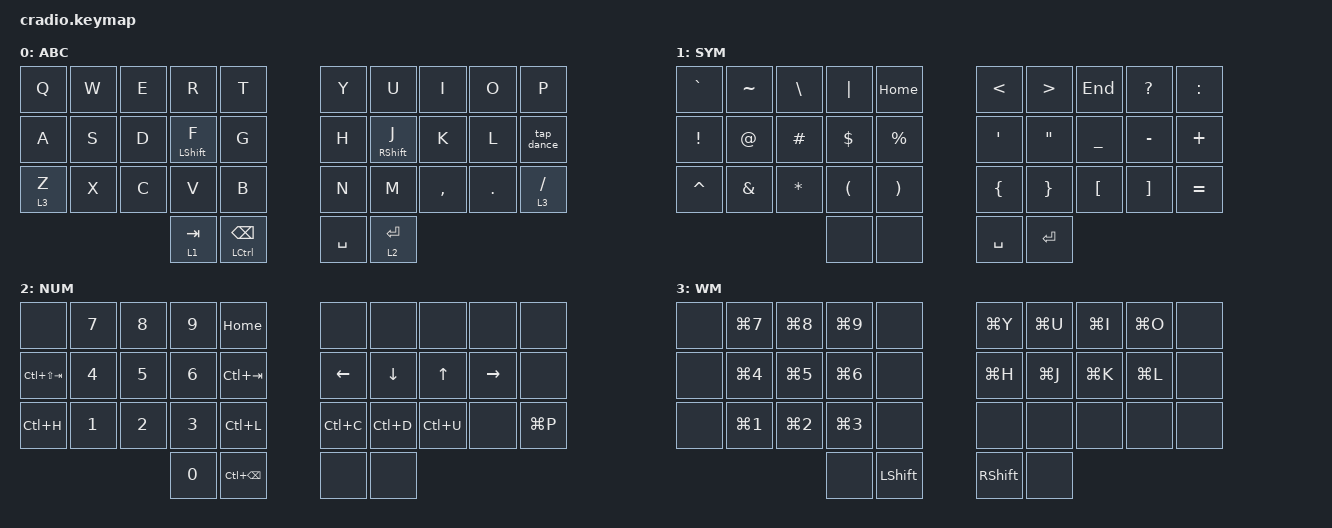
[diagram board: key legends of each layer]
// Copyright (c) 2022 The ZMK Contributors
// SPDX-License-Identifier: MIT

#include <behaviors.dtsi>
#include <dt-bindings/zmk/keys.h>

&mt { tapping-term-ms = <150>; };

&lt { tapping-term-ms = <150>; };

/ {
    behaviors {
        tap_dance: tap_dance {
            compatible = "zmk,behavior-tap-dance";
            label = "TAP_DANCE";
            #binding-cells = <0>;
            tapping-term-ms = <150>;
            bindings = <&kp SEMICOLON>, <&caps_word>;
        };

        modtapbalance: modtapbalance {
            compatible = "zmk,behavior-hold-tap";
            label = "MODTAPBALANCE";
            bindings = <&kp>, <&kp>;

            #binding-cells = <2>;
            tapping-term-ms = <160>;
            flavor = "balanced";
        };

        layertapbalance: layertapbalance {
            compatible = "zmk,behavior-hold-tap";
            label = "LAYERTAPBALANCE";
            bindings = <&mo>, <&kp>;

            #binding-cells = <2>;
            tapping-term-ms = <160>;
            flavor = "balanced";
        };
    };

    conditional_layers { compatible = "zmk,conditional-layers"; };

    combos {
        compatible = "zmk,combos";

        combo_esc {
            bindings = <&kp ESCAPE>;
            key-positions = <12 13>;
        };
    };

    keymap {
        compatible = "zmk,keymap";

        default_layer {
            bindings = <
&kp Q                 &kp W  &kp E  &kp R                        &kp T                  &kp Y      &kp U                         &kp I      &kp O    &kp P
&kp A                 &kp S  &kp D  &modtapbalance LEFT_SHIFT F  &kp G                  &kp H      &modtapbalance RIGHT_SHIFT J  &kp K      &kp L    &tap_dance
&layertapbalance 3 Z  &kp X  &kp C  &kp V                        &kp B                  &kp N      &kp M                         &kp COMMA  &kp DOT  &layertapbalance 3 SLASH
                                    &lt 1 TAB                    &mt LCTRL BACKSPACE    &kp SPACE  &lt 2 ENTER
            >;

            label = "ABC";
        };

        symbol_layer {
            bindings = <
&kp GRAVE        &kp TILDE      &kp BACKSLASH  &kp PIPE              &kp HOME                 &kp LESS_THAN     &kp GREATER_THAN   &kp END           &kp QUESTION       &kp COLON
&kp EXCLAMATION  &kp AT_SIGN    &kp HASH       &kp DOLLAR            &kp PERCENT              &kp SINGLE_QUOTE  &kp DOUBLE_QUOTES  &kp UNDERSCORE    &kp MINUS          &kp PLUS
&kp CARET        &kp AMPERSAND  &kp ASTERISK   &kp LEFT_PARENTHESIS  &kp RIGHT_PARENTHESIS    &kp LEFT_BRACE    &kp RIGHT_BRACE    &kp LEFT_BRACKET  &kp RIGHT_BRACKET  &kp EQUAL
                                               &none                 &none                    &kp SPACE         &kp ENTER
            >;

            label = "SYM";
        };

        number_layer {
            bindings = <
&none            &kp N7        &kp NUMBER_8  &kp NUMBER_9  &kp HOME             &none      &none      &none      &none      &none
&kp LC(LS(TAB))  &kp NUMBER_4  &kp NUMBER_5  &kp NUMBER_6  &kp LC(TAB)          &kp LEFT   &kp DOWN   &kp UP     &kp RIGHT  &none
&kp LC(H)        &kp NUMBER_1  &kp NUMBER_2  &kp NUMBER_3  &kp LC(L)            &kp LC(C)  &kp LC(D)  &kp LC(U)  &none      &kp LG(P)
                                             &kp NUMBER_0  &kp LC(BACKSPACE)    &none      &none
            >;

            label = "NUM";
        };

        wm_layer {
            bindings = <
&none  &kp LG(NUMBER_7)  &kp LG(NUMBER_8)  &kp LG(NUMBER_9)  &none             &kp LG(Y)        &kp LG(U)  &kp LG(I)  &kp LG(O)  &none
&none  &kp LG(NUMBER_4)  &kp LG(NUMBER_5)  &kp LG(NUMBER_6)  &none             &kp LG(H)        &kp LG(J)  &kp LG(K)  &kp LG(L)  &none
&none  &kp LG(NUMBER_1)  &kp LG(NUMBER_2)  &kp LG(NUMBER_3)  &none             &none            &none      &none      &none      &none
                                           &none             &kp LEFT_SHIFT    &kp RIGHT_SHIFT  &none
            >;

            label = "WM";
        };
    };
};
